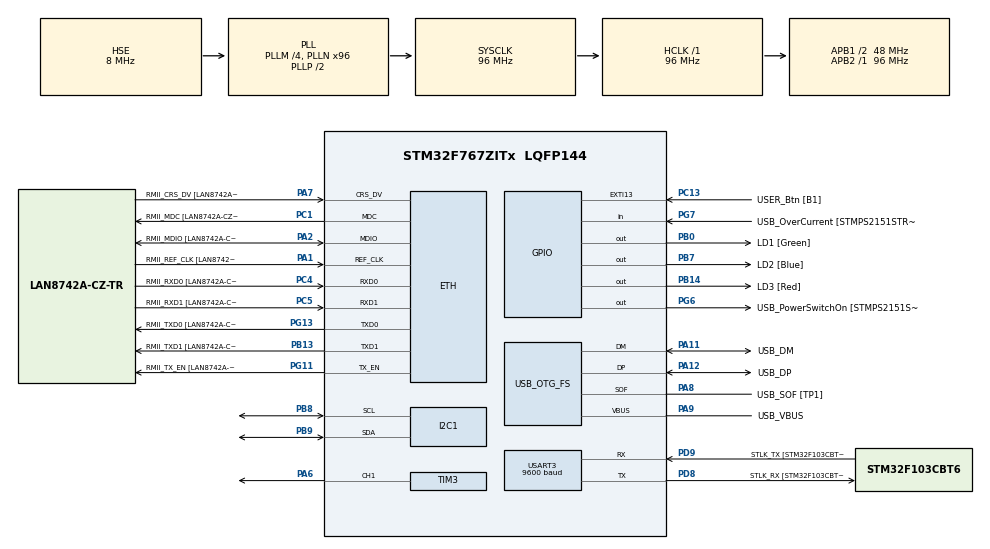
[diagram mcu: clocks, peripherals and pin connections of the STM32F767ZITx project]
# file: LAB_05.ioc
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ETH.MediaInterface=HAL_ETH_RMII_MODE
ETH.PHY_Name=LAN8742A_PHY_ADDRESS
ETH.PHY_Value=0
ETH.PhyAddress=0
I2C1.Timing=0x20303E5D
Mcu.Family=STM32F7
Mcu.Name=STM32F767ZITx
Mcu.Package=LQFP144
NVIC.PriorityGroup=NVIC_PRIORITYGROUP_4
NVIC.TIM2_IRQn=true\:0\:0\:false\:false\:true\:true\:true\:true
NVIC.USART3_IRQn=true\:0\:0\:false\:false\:true\:true\:true\:true
PA1.GPIO_Label=RMII_REF_CLK [LAN8742A-CZ-TR_REFCLK0]
PA1.Mode=RMII
PA1.Signal=ETH_REF_CLK
PA10.GPIO_Label=USB_ID
PA10.Signal=USB_OTG_FS_ID
PA11.GPIO_Label=USB_DM
PA11.Mode=Device_Only
PA11.Signal=USB_OTG_FS_DM
PA12.GPIO_Label=USB_DP
PA12.Mode=Device_Only
PA12.Signal=USB_OTG_FS_DP
PA13.GPIO_Label=TMS
PA13.Mode=Serial_Wire
PA13.Signal=SYS_JTMS-SWDIO
PA14.GPIO_Label=TCK
PA14.Mode=Serial_Wire
PA14.Signal=SYS_JTCK-SWCLK
PA2.GPIO_Label=RMII_MDIO [LAN8742A-CZ-TR_MDIO]
PA2.Mode=RMII
PA2.Signal=ETH_MDIO
PA6.Signal=S_TIM3_CH1
PA7.GPIO_Label=RMII_CRS_DV [LAN8742A-CZ-TR_CRS_DV]
PA7.Mode=RMII
PA7.Signal=ETH_CRS_DV
PA8.GPIO_Label=USB_SOF [TP1]
PA8.Mode=Activate_SOF_FS
PA8.Signal=USB_OTG_FS_SOF
PA9.GPIO_Label=USB_VBUS
PA9.Mode=Activate_VBUS
PA9.Signal=USB_OTG_FS_VBUS
PB0.GPIO_Label=LD1 [Green]
PB0.Signal=GPIO_Output
PB13.GPIO_Label=RMII_TXD1 [LAN8742A-CZ-TR_TXD1]
PB13.Mode=RMII
PB13.Signal=ETH_TXD1
PB14.GPIO_Label=LD3 [Red]
PB14.Signal=GPIO_Output
PB3.GPIO_Label=SWO
PB3.Signal=SYS_JTDO-SWO
PB7.GPIO_Label=LD2 [Blue]
PB7.Signal=GPIO_Output
PB8.Mode=I2C
PB8.Signal=I2C1_SCL
PB9.Mode=I2C
PB9.Signal=I2C1_SDA
PC1.GPIO_Label=RMII_MDC [LAN8742A-CZ-TR_MDC]
PC1.Mode=RMII
PC1.Signal=ETH_MDC
PC13.GPIO_Label=USER_Btn [B1]
PC13.Signal=GPXTI13
PC14/OSC32_IN.Mode=LSE-External-Oscillator
PC14/OSC32_IN.Signal=RCC_OSC32_IN
PC15/OSC32_OUT.Mode=LSE-External-Oscillator
PC15/OSC32_OUT.Signal=RCC_OSC32_OUT
PC4.GPIO_Label=RMII_RXD0 [LAN8742A-CZ-TR_RXD0]
PC4.Mode=RMII
PC4.Signal=ETH_RXD0
PC5.GPIO_Label=RMII_RXD1 [LAN8742A-CZ-TR_RXD1]
PC5.Mode=RMII
PC5.Signal=ETH_RXD1
PD8.GPIO_Label=STLK_RX [STM32F103CBT6_PA3]
PD8.Mode=Asynchronous
PD8.Signal=USART3_TX
PD9.GPIO_Label=STLK_TX [STM32F103CBT6_PA2]
PD9.Mode=Asynchronous
PD9.Signal=USART3_RX
PG11.GPIO_Label=RMII_TX_EN [LAN8742A-CZ-TR_TXEN]
PG11.Mode=RMII
PG11.Signal=ETH_TX_EN
PG13.GPIO_Label=RMII_TXD0 [LAN8742A-CZ-TR_TXD0]
PG13.Mode=RMII
PG13.Signal=ETH_TXD0
PG6.GPIO_Label=USB_PowerSwitchOn [STMPS2151STR_EN]
PG6.Signal=GPIO_Output
PG7.GPIO_Label=USB_OverCurrent [STMPS2151STR_FAULT]
PG7.Signal=GPIO_Input
PH0/OSC_IN.GPIO_Label=MCO [STM32F103CBT6_PA8]
PH0/OSC_IN.Mode=HSE-External-Clock-Source
PH0/OSC_IN.Signal=RCC_OSC_IN
PH1/OSC_OUT.Mode=HSE-External-Clock-Source
PH1/OSC_OUT.Signal=RCC_OSC_OUT
ProjectManager.HeapSize=0x200
ProjectManager.StackSize=0x400
ProjectManager.TargetToolchain=STM32CubeIDE
RCC.48MHZClocksFreq_Value=24000000
RCC.AHBFreq_Value=96000000
RCC.APB1CLKDivider=RCC_HCLK_DIV2
RCC.APB1Freq_Value=48000000
RCC.APB1TimFreq_Value=96000000
RCC.APB2Freq_Value=96000000
RCC.APB2TimFreq_Value=96000000
RCC.CortexFreq_Value=96000000
RCC.HCLKFreq_Value=96000000
RCC.HSE_VALUE=8000000
RCC.HSI_VALUE=16000000
RCC.PLLM=4
RCC.PLLMUL=RCC_PLL_MUL9
RCC.PLLN=96
RCC.PLLQ=4
RCC.PRESCALERUSB=RCC_USBCLKSOURCE_PLL_DIV1_5
RCC.SYSCLKFreq_VALUE=96000000
RCC.SYSCLKSource=RCC_SYSCLKSOURCE_PLLCLK
RCC.SYSCLKSourceVirtual=RCC_SYSCLKSOURCE_PLLCLK
RCC.USBFreq_Value=48000000
RCC.VCOOutputFreq_Value=192000000
SH.S_TIM3_CH1.0=TIM3_CH1,PWM Generation1 CH1
TIM2.Period=1999
TIM2.Prescaler=9599
TIM3.Channel-PWM\ Generation1\ CH1=TIM_CHANNEL_1
TIM3.Period=999
TIM3.Prescaler=95
USART3.BaudRate=9600
USART3.VirtualMode-Asynchronous=VM_ASYNC
USB_OTG_FS.VirtualMode=Device_Only
VP_TIM2_VS_ClockSourceINT.Mode=Internal
VP_TIM3_VS_ClockSourceINT.Mode=Internal
board=NUCLEO-F767ZI

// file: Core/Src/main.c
/* USER CODE BEGIN Header */
/**
 ******************************************************************************
 * @file           : main.c
 * @brief          : Main program body
 ******************************************************************************
 * @attention
 *
 * Copyright (c) 2025 STMicroelectronics.
 * All rights reserved.
 *
 * This software is licensed under terms that can be found in the LICENSE file
 * in the root directory of this software component.
 * If no LICENSE file comes with this software, it is provided AS-IS.
 *
 ******************************************************************************
 */
/* USER CODE END Header */
#include "main.h"
#include "string.h"

/* USER CODE BEGIN Includes */
#include <stdio.h>
#include <stdlib.h>

/* USER CODE END Includes */

#if defined ( __ICCARM__ ) /*!< IAR Compiler */
#pragma location=0x2007c000
ETH_DMADescTypeDef  DMARxDscrTab[ETH_RX_DESC_CNT]; /* Ethernet Rx DMA Descriptors */
#pragma location=0x2007c0a0
ETH_DMADescTypeDef  DMATxDscrTab[ETH_TX_DESC_CNT]; /* Ethernet Tx DMA Descriptors */

#elif defined ( __CC_ARM )  /* MDK ARM Compiler */

__attribute__((at(0x2007c000))) ETH_DMADescTypeDef  DMARxDscrTab[ETH_RX_DESC_CNT]; /* Ethernet Rx DMA Descriptors */
__attribute__((at(0x2007c0a0))) ETH_DMADescTypeDef  DMATxDscrTab[ETH_TX_DESC_CNT]; /* Ethernet Tx DMA Descriptors */

#elif defined ( __GNUC__ ) /* GNU Compiler */

ETH_DMADescTypeDef DMARxDscrTab[ETH_RX_DESC_CNT] __attribute__((section(".RxDecripSection"))); /* Ethernet Rx DMA Descriptors */
ETH_DMADescTypeDef DMATxDscrTab[ETH_TX_DESC_CNT] __attribute__((section(".TxDecripSection")));   /* Ethernet Tx DMA Descriptors */
#endif

ETH_TxPacketConfig TxConfig;

ETH_HandleTypeDef heth;

I2C_HandleTypeDef hi2c1;

TIM_HandleTypeDef htim2;
TIM_HandleTypeDef htim3;

UART_HandleTypeDef huart3;

PCD_HandleTypeDef hpcd_USB_OTG_FS;

void SystemClock_Config(void);
static void MX_GPIO_Init(void);
static void MX_ETH_Init(void);
static void MX_USART3_UART_Init(void);
static void MX_USB_OTG_FS_PCD_Init(void);
static void MX_I2C1_Init(void);
static void MX_TIM2_Init(void);
static void MX_TIM3_Init(void);

/* USER CODE BEGIN 0 */

#define BH1750_ADDR             	(0x23 << 1)
#define BH1750_POWER_ON         	0x01
#define BH1750_CONT_HIGH_RES_MODE 	0x10

void UART_TransmitMessage(char *msg) {
	HAL_UART_Transmit(&huart3, (uint8_t*) msg, strlen(msg), HAL_MAX_DELAY);
}

void BH1750_Init() {
	uint8_t cmd;
	cmd = BH1750_POWER_ON;
	HAL_I2C_Master_Transmit(&hi2c1, BH1750_ADDR, &cmd, 1, HAL_MAX_DELAY);
	cmd = BH1750_CONT_HIGH_RES_MODE;
	HAL_I2C_Master_Transmit(&hi2c1, BH1750_ADDR, &cmd, 1, HAL_MAX_DELAY);
}

float BH1750_ReadLux() {
	uint8_t data[2];

	HAL_I2C_Master_Receive(&hi2c1, BH1750_ADDR, data, 2, HAL_MAX_DELAY);

	uint16_t raw = (data[0] << 8) | data[1];

	return (float) raw / 1.2f;

}

void SetPWM(TIM_HandleTypeDef *htim, uint32_t channel, float duty) {
	if (duty < 0.0f)
		duty = 0.0f;
	if (duty > 100.0f)
		duty = 100.0f;

	uint32_t ARR = __HAL_TIM_GET_AUTORELOAD(htim);
	uint32_t compare = (uint32_t)((duty / 100.0f) * (ARR + 1));
	__HAL_TIM_SET_COMPARE(htim, channel, compare);
}

char buffer[50];

// 1 Hz
// PSC = 9599, ARR = 9999
void zad2() {
	float lux = BH1750_ReadLux();
	if (lux >= 0) {
		sprintf(buffer, "JASNOSC = %d lux\r\n", (int) lux);
		UART_TransmitMessage(buffer);
	}
}

// 5 Hz
// PSC = 9599, ARR = 1999

int mililux;
void zad3() {
	float lux = BH1750_ReadLux();
	if (lux >= 0) {
		mililux = (int) (lux * 1000.0f);
		sprintf(buffer, "JASNOSC = %d mLux\r\n", mililux);
		UART_TransmitMessage(buffer);
	}
}

uint8_t rxBuffer[5];

void HAL_UART_RxCpltCallback(UART_HandleTypeDef *huart) {

	int value = atoi((char*) rxBuffer);

	SetPWM(&htim3, TIM_CHANNEL_1, (float) value);

	HAL_UART_Receive_IT(&huart3, rxBuffer, 5);
}

int DUTY_STEP = 10;

void floatToStr(float f, char *buf, int precision) {
    int intPart = (int)f;
    int fracPart = (int)((f - intPart) * pow(10, precision));
    sprintf(buf, "%d.%0*d", intPart, precision, abs(fracPart));
}

void zad6() {

	UART_TransmitMessage("PWM%,Lux\r\n");

	for (int duty = 0; duty <= 100; duty += DUTY_STEP) {
		SetPWM(&htim3, TIM_CHANNEL_1, (float) duty);
		HAL_Delay(100);

		float lux = BH1750_ReadLux();
		char luxStr[10];
		floatToStr(lux, luxStr, 2);
		sprintf(buffer, "%d,%s\r\n", duty, luxStr);

		UART_TransmitMessage(buffer);
	}

}

void HAL_TIM_PeriodElapsedCallback(TIM_HandleTypeDef *htim) {
	if (htim->Instance == TIM2) {
//		zad2();
//		zad3();
	}
}

/* USER CODE END 0 */

int main(void)
{

  /* MCU Configuration--------------------------------------------------------*/

  /* Reset of all peripherals, Initializes the Flash interface and the Systick. */
  HAL_Init();

  /* Configure the system clock */
  SystemClock_Config();

  /* Initialize all configured peripherals */
  MX_GPIO_Init();
  MX_ETH_Init();
  MX_USART3_UART_Init();
  MX_USB_OTG_FS_PCD_Init();
  MX_I2C1_Init();
  MX_TIM2_Init();
  MX_TIM3_Init();
  /* USER CODE BEGIN 2 */

//  HAL_TIM_Base_Start_IT(&htim2);
	BH1750_Init();

	HAL_TIM_PWM_Start(&htim3, TIM_CHANNEL_1);
	HAL_UART_Receive_IT(&huart3, rxBuffer, 5);

	zad6();

  /* USER CODE END 2 */

  /* Infinite loop */
	while (1) {

	}
}

void SystemClock_Config(void)
{
  RCC_OscInitTypeDef RCC_OscInitStruct = {0};
  RCC_ClkInitTypeDef RCC_ClkInitStruct = {0};

  /** Configure LSE Drive Capability
  */
  HAL_PWR_EnableBkUpAccess();

  /** Configure the main internal regulator output voltage
  */
  __HAL_RCC_PWR_CLK_ENABLE();
  __HAL_PWR_VOLTAGESCALING_CONFIG(PWR_REGULATOR_VOLTAGE_SCALE3);

  /** Initializes the RCC Oscillators according to the specified parameters
  * in the RCC_OscInitTypeDef structure.
  */
  RCC_OscInitStruct.OscillatorType = RCC_OSCILLATORTYPE_HSE;
  RCC_OscInitStruct.HSEState = RCC_HSE_BYPASS;
  RCC_OscInitStruct.PLL.PLLState = RCC_PLL_ON;
  RCC_OscInitStruct.PLL.PLLSource = RCC_PLLSOURCE_HSE;
  RCC_OscInitStruct.PLL.PLLM = 4;
  RCC_OscInitStruct.PLL.PLLN = 96;
  RCC_OscInitStruct.PLL.PLLP = RCC_PLLP_DIV2;
  RCC_OscInitStruct.PLL.PLLQ = 4;
  RCC_OscInitStruct.PLL.PLLR = 2;
  if (HAL_RCC_OscConfig(&RCC_OscInitStruct) != HAL_OK)
  {
    Error_Handler();
  }

  /** Activate the Over-Drive mode
  */
  if (HAL_PWREx_EnableOverDrive() != HAL_OK)
  {
    Error_Handler();
  }

  /** Initializes the CPU, AHB and APB buses clocks
  */
  RCC_ClkInitStruct.ClockType = RCC_CLOCKTYPE_HCLK|RCC_CLOCKTYPE_SYSCLK
                              |RCC_CLOCKTYPE_PCLK1|RCC_CLOCKTYPE_PCLK2;
  RCC_ClkInitStruct.SYSCLKSource = RCC_SYSCLKSOURCE_PLLCLK;
  RCC_ClkInitStruct.AHBCLKDivider = RCC_SYSCLK_DIV1;
  RCC_ClkInitStruct.APB1CLKDivider = RCC_HCLK_DIV2;
  RCC_ClkInitStruct.APB2CLKDivider = RCC_HCLK_DIV1;

  if (HAL_RCC_ClockConfig(&RCC_ClkInitStruct, FLASH_LATENCY_3) != HAL_OK)
  {
    Error_Handler();
  }
}

static void MX_ETH_Init(void)
{

   static uint8_t MACAddr[6];

  heth.Instance = ETH;
  MACAddr[0] = 0x00;
  MACAddr[1] = 0x80;
  MACAddr[2] = 0xE1;
  MACAddr[3] = 0x00;
  MACAddr[4] = 0x00;
  MACAddr[5] = 0x00;
  heth.Init.MACAddr = &MACAddr[0];
  heth.Init.MediaInterface = HAL_ETH_RMII_MODE;
  heth.Init.TxDesc = DMATxDscrTab;
  heth.Init.RxDesc = DMARxDscrTab;
  heth.Init.RxBuffLen = 1524;

  if (HAL_ETH_Init(&heth) != HAL_OK)
  {
    Error_Handler();
  }

  memset(&TxConfig, 0 , sizeof(ETH_TxPacketConfig));
  TxConfig.Attributes = ETH_TX_PACKETS_FEATURES_CSUM | ETH_TX_PACKETS_FEATURES_CRCPAD;
  TxConfig.ChecksumCtrl = ETH_CHECKSUM_IPHDR_PAYLOAD_INSERT_PHDR_CALC;
  TxConfig.CRCPadCtrl = ETH_CRC_PAD_INSERT;

}

static void MX_I2C1_Init(void)
{

  hi2c1.Instance = I2C1;
  hi2c1.Init.Timing = 0x20303E5D;
  hi2c1.Init.OwnAddress1 = 0;
  hi2c1.Init.AddressingMode = I2C_ADDRESSINGMODE_7BIT;
  hi2c1.Init.DualAddressMode = I2C_DUALADDRESS_DISABLE;
  hi2c1.Init.OwnAddress2 = 0;
  hi2c1.Init.OwnAddress2Masks = I2C_OA2_NOMASK;
  hi2c1.Init.GeneralCallMode = I2C_GENERALCALL_DISABLE;
  hi2c1.Init.NoStretchMode = I2C_NOSTRETCH_DISABLE;
  if (HAL_I2C_Init(&hi2c1) != HAL_OK)
  {
    Error_Handler();
  }

  /** Configure Analogue filter
  */
  if (HAL_I2CEx_ConfigAnalogFilter(&hi2c1, I2C_ANALOGFILTER_ENABLE) != HAL_OK)
  {
    Error_Handler();
  }

  /** Configure Digital filter
  */
  if (HAL_I2CEx_ConfigDigitalFilter(&hi2c1, 0) != HAL_OK)
  {
    Error_Handler();
  }

}

static void MX_TIM2_Init(void)
{

  TIM_ClockConfigTypeDef sClockSourceConfig = {0};
  TIM_MasterConfigTypeDef sMasterConfig = {0};

  htim2.Instance = TIM2;
  htim2.Init.Prescaler = 9599;
  htim2.Init.CounterMode = TIM_COUNTERMODE_UP;
  htim2.Init.Period = 1999;
  htim2.Init.ClockDivision = TIM_CLOCKDIVISION_DIV1;
  htim2.Init.AutoReloadPreload = TIM_AUTORELOAD_PRELOAD_DISABLE;
  if (HAL_TIM_Base_Init(&htim2) != HAL_OK)
  {
    Error_Handler();
  }
  sClockSourceConfig.ClockSource = TIM_CLOCKSOURCE_INTERNAL;
  if (HAL_TIM_ConfigClockSource(&htim2, &sClockSourceConfig) != HAL_OK)
  {
    Error_Handler();
  }
  sMasterConfig.MasterOutputTrigger = TIM_TRGO_RESET;
  sMasterConfig.MasterSlaveMode = TIM_MASTERSLAVEMODE_DISABLE;
  if (HAL_TIMEx_MasterConfigSynchronization(&htim2, &sMasterConfig) != HAL_OK)
  {
    Error_Handler();
  }

}

static void MX_TIM3_Init(void)
{

  TIM_ClockConfigTypeDef sClockSourceConfig = {0};
  TIM_MasterConfigTypeDef sMasterConfig = {0};
  TIM_OC_InitTypeDef sConfigOC = {0};

  htim3.Instance = TIM3;
  htim3.Init.Prescaler = 95;
  htim3.Init.CounterMode = TIM_COUNTERMODE_UP;
  htim3.Init.Period = 999;
  htim3.Init.ClockDivision = TIM_CLOCKDIVISION_DIV1;
  htim3.Init.AutoReloadPreload = TIM_AUTORELOAD_PRELOAD_DISABLE;
  if (HAL_TIM_Base_Init(&htim3) != HAL_OK)
  {
    Error_Handler();
  }
  sClockSourceConfig.ClockSource = TIM_CLOCKSOURCE_INTERNAL;
  if (HAL_TIM_ConfigClockSource(&htim3, &sClockSourceConfig) != HAL_OK)
  {
    Error_Handler();
  }
  if (HAL_TIM_PWM_Init(&htim3) != HAL_OK)
  {
    Error_Handler();
  }
  sMasterConfig.MasterOutputTrigger = TIM_TRGO_RESET;
  sMasterConfig.MasterSlaveMode = TIM_MASTERSLAVEMODE_DISABLE;
  if (HAL_TIMEx_MasterConfigSynchronization(&htim3, &sMasterConfig) != HAL_OK)
  {
    Error_Handler();
  }
  sConfigOC.OCMode = TIM_OCMODE_PWM1;
  sConfigOC.Pulse = 0;
  sConfigOC.OCPolarity = TIM_OCPOLARITY_HIGH;
  sConfigOC.OCFastMode = TIM_OCFAST_DISABLE;
  if (HAL_TIM_PWM_ConfigChannel(&htim3, &sConfigOC, TIM_CHANNEL_1) != HAL_OK)
  {
    Error_Handler();
  }
  HAL_TIM_MspPostInit(&htim3);

}

static void MX_USART3_UART_Init(void)
{

  huart3.Instance = USART3;
  huart3.Init.BaudRate = 9600;
  huart3.Init.WordLength = UART_WORDLENGTH_8B;
  huart3.Init.StopBits = UART_STOPBITS_1;
  huart3.Init.Parity = UART_PARITY_NONE;
  huart3.Init.Mode = UART_MODE_TX_RX;
  huart3.Init.HwFlowCtl = UART_HWCONTROL_NONE;
  huart3.Init.OverSampling = UART_OVERSAMPLING_16;
  huart3.Init.OneBitSampling = UART_ONE_BIT_SAMPLE_DISABLE;
  huart3.AdvancedInit.AdvFeatureInit = UART_ADVFEATURE_NO_INIT;
  if (HAL_UART_Init(&huart3) != HAL_OK)
  {
    Error_Handler();
  }

}

static void MX_USB_OTG_FS_PCD_Init(void)
{

  hpcd_USB_OTG_FS.Instance = USB_OTG_FS;
  hpcd_USB_OTG_FS.Init.dev_endpoints = 6;
  hpcd_USB_OTG_FS.Init.speed = PCD_SPEED_FULL;
  hpcd_USB_OTG_FS.Init.dma_enable = DISABLE;
  hpcd_USB_OTG_FS.Init.phy_itface = PCD_PHY_EMBEDDED;
  hpcd_USB_OTG_FS.Init.Sof_enable = ENABLE;
  hpcd_USB_OTG_FS.Init.low_power_enable = DISABLE;
  hpcd_USB_OTG_FS.Init.lpm_enable = DISABLE;
  hpcd_USB_OTG_FS.Init.vbus_sensing_enable = ENABLE;
  hpcd_USB_OTG_FS.Init.use_dedicated_ep1 = DISABLE;
  if (HAL_PCD_Init(&hpcd_USB_OTG_FS) != HAL_OK)
  {
    Error_Handler();
  }

}

static void MX_GPIO_Init(void)
{
  GPIO_InitTypeDef GPIO_InitStruct = {0};

  /* GPIO Ports Clock Enable */
  __HAL_RCC_GPIOC_CLK_ENABLE();
  __HAL_RCC_GPIOH_CLK_ENABLE();
  __HAL_RCC_GPIOA_CLK_ENABLE();
  __HAL_RCC_GPIOB_CLK_ENABLE();
  __HAL_RCC_GPIOD_CLK_ENABLE();
  __HAL_RCC_GPIOG_CLK_ENABLE();

  /*Configure GPIO pin Output Level */
  HAL_GPIO_WritePin(GPIOB, LD1_Pin|LD3_Pin|LD2_Pin, GPIO_PIN_RESET);

  /*Configure GPIO pin Output Level */
  HAL_GPIO_WritePin(USB_PowerSwitchOn_GPIO_Port, USB_PowerSwitchOn_Pin, GPIO_PIN_RESET);

  /*Configure GPIO pin : USER_Btn_Pin */
  GPIO_InitStruct.Pin = USER_Btn_Pin;
  GPIO_InitStruct.Mode = GPIO_MODE_IT_RISING;
  GPIO_InitStruct.Pull = GPIO_NOPULL;
  HAL_GPIO_Init(USER_Btn_GPIO_Port, &GPIO_InitStruct);

  /*Configure GPIO pins : LD1_Pin LD3_Pin LD2_Pin */
  GPIO_InitStruct.Pin = LD1_Pin|LD3_Pin|LD2_Pin;
  GPIO_InitStruct.Mode = GPIO_MODE_OUTPUT_PP;
  GPIO_InitStruct.Pull = GPIO_NOPULL;
  GPIO_InitStruct.Speed = GPIO_SPEED_FREQ_LOW;
  HAL_GPIO_Init(GPIOB, &GPIO_InitStruct);

  /*Configure GPIO pin : USB_PowerSwitchOn_Pin */
  GPIO_InitStruct.Pin = USB_PowerSwitchOn_Pin;
  GPIO_InitStruct.Mode = GPIO_MODE_OUTPUT_PP;
  GPIO_InitStruct.Pull = GPIO_NOPULL;
  GPIO_InitStruct.Speed = GPIO_SPEED_FREQ_LOW;
  HAL_GPIO_Init(USB_PowerSwitchOn_GPIO_Port, &GPIO_InitStruct);

  /*Configure GPIO pin : USB_OverCurrent_Pin */
  GPIO_InitStruct.Pin = USB_OverCurrent_Pin;
  GPIO_InitStruct.Mode = GPIO_MODE_INPUT;
  GPIO_InitStruct.Pull = GPIO_NOPULL;
  HAL_GPIO_Init(USB_OverCurrent_GPIO_Port, &GPIO_InitStruct);

}

void Error_Handler(void)
{
	__disable_irq();
	while (1) {
	}
}
